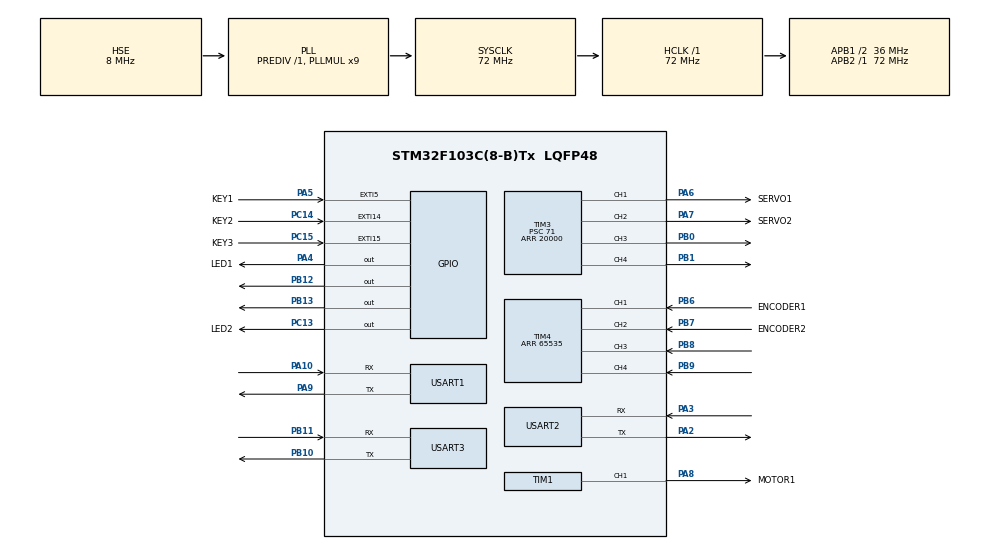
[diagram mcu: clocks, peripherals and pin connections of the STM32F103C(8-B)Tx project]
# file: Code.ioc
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Dma.Request0=USART1_RX
Dma.Request1=USART2_RX
Dma.USART1_RX.0.Direction=DMA_PERIPH_TO_MEMORY
Dma.USART1_RX.0.Instance=DMA1_Channel5
Dma.USART1_RX.0.MemDataAlignment=DMA_MDATAALIGN_BYTE
Dma.USART1_RX.0.MemInc=DMA_MINC_ENABLE
Dma.USART1_RX.0.Mode=DMA_CIRCULAR
Dma.USART1_RX.0.PeriphDataAlignment=DMA_PDATAALIGN_BYTE
Dma.USART1_RX.0.PeriphInc=DMA_PINC_DISABLE
Dma.USART1_RX.0.Priority=DMA_PRIORITY_LOW
Dma.USART2_RX.1.Direction=DMA_PERIPH_TO_MEMORY
Dma.USART2_RX.1.Instance=DMA1_Channel6
Dma.USART2_RX.1.MemDataAlignment=DMA_MDATAALIGN_BYTE
Dma.USART2_RX.1.MemInc=DMA_MINC_ENABLE
Dma.USART2_RX.1.Mode=DMA_CIRCULAR
Dma.USART2_RX.1.PeriphDataAlignment=DMA_PDATAALIGN_BYTE
Dma.USART2_RX.1.PeriphInc=DMA_PINC_DISABLE
Dma.USART2_RX.1.Priority=DMA_PRIORITY_MEDIUM
Mcu.Family=STM32F1
Mcu.Name=STM32F103C(8-B)Tx
Mcu.Package=LQFP48
NVIC.DMA1_Channel5_IRQn=true\:0\:0\:false\:false\:true\:false
NVIC.DMA1_Channel6_IRQn=true\:0\:0\:false\:false\:true\:false
NVIC.EXTI15_10_IRQn=true\:5\:0\:true\:false\:true\:true
NVIC.EXTI9_5_IRQn=true\:5\:0\:true\:false\:true\:true
NVIC.PriorityGroup=NVIC_PRIORITYGROUP_4
NVIC.TIM1_BRK_IRQn=true\:0\:0\:false\:false\:true\:true
NVIC.TIM1_UP_IRQn=true\:0\:0\:false\:false\:true\:true
NVIC.USART1_IRQn=true\:0\:0\:false\:false\:true\:true
NVIC.USART2_IRQn=true\:0\:0\:false\:false\:true\:true
NVIC.USART3_IRQn=true\:0\:0\:false\:false\:true\:true
PA10.Mode=Asynchronous
PA10.Signal=USART1_RX
PA13.Mode=Serial_Wire
PA13.Signal=SYS_JTMS-SWDIO
PA14.Mode=Serial_Wire
PA14.Signal=SYS_JTCK-SWCLK
PA2.Mode=Asynchronous
PA2.Signal=USART2_TX
PA3.Mode=Asynchronous
PA3.Signal=USART2_RX
PA4.GPIO_Label=LED1
PA4.PinState=GPIO_PIN_SET
PA4.Signal=GPIO_Output
PA5.GPIO_Label=KEY1
PA5.Signal=GPXTI5
PA6.GPIO_Label=SERVO1
PA6.GPIO_Speed=GPIO_SPEED_FREQ_HIGH
PA6.Signal=S_TIM3_CH1
PA7.GPIO_Label=SERVO2
PA7.GPIO_Speed=GPIO_SPEED_FREQ_HIGH
PA7.Signal=S_TIM3_CH2
PA8.GPIO_Label=MOTOR1
PA8.Signal=S_TIM1_CH1
PA9.Mode=Asynchronous
PA9.Signal=USART1_TX
PB0.Signal=S_TIM3_CH3
PB1.Signal=S_TIM3_CH4
PB10.Mode=Asynchronous
PB10.Signal=USART3_TX
PB11.Mode=Asynchronous
PB11.Signal=USART3_RX
PB12.Signal=GPIO_Output
PB13.Signal=GPIO_Output
PB6.GPIO_Label=ENCODER1
PB6.Signal=S_TIM4_CH1
PB7.GPIO_Label=ENCODER2
PB7.Signal=S_TIM4_CH2
PB8.Signal=S_TIM4_CH3
PB9.Signal=S_TIM4_CH4
PC13-TAMPER-RTC.GPIO_Label=LED2
PC13-TAMPER-RTC.Signal=GPIO_Output
PC14-OSC32_IN.GPIO_Label=KEY2
PC14-OSC32_IN.Signal=GPXTI14
PC15-OSC32_OUT.GPIO_Label=KEY3
PC15-OSC32_OUT.Signal=GPXTI15
PD0-OSC_IN.Mode=HSE-External-Oscillator
PD0-OSC_IN.Signal=RCC_OSC_IN
PD1-OSC_OUT.Mode=HSE-External-Oscillator
PD1-OSC_OUT.Signal=RCC_OSC_OUT
ProjectManager.HeapSize=0x200
ProjectManager.StackSize=0x400
ProjectManager.TargetToolchain=MDK-ARM V5
RCC.AHBFreq_Value=72000000
RCC.APB1CLKDivider=RCC_HCLK_DIV2
RCC.APB1Freq_Value=36000000
RCC.APB1TimFreq_Value=72000000
RCC.APB2Freq_Value=72000000
RCC.APB2TimFreq_Value=72000000
RCC.HCLKFreq_Value=72000000
RCC.PLLMUL=RCC_PLL_MUL9
RCC.PLLSourceVirtual=RCC_PLLSOURCE_HSE
RCC.SYSCLKFreq_VALUE=72000000
RCC.SYSCLKSource=RCC_SYSCLKSOURCE_PLLCLK
RCC.USBFreq_Value=72000000
SH.S_TIM1_CH1.0=TIM1_CH1,PWM Generation1 CH1
SH.S_TIM3_CH1.0=TIM3_CH1,PWM Generation1 CH1
SH.S_TIM3_CH2.0=TIM3_CH2,PWM Generation2 CH2
SH.S_TIM3_CH3.0=TIM3_CH3,PWM Generation3 CH3
SH.S_TIM3_CH4.0=TIM3_CH4,PWM Generation4 CH4
SH.S_TIM4_CH1.0=TIM4_CH1,Encoder_Interface
SH.S_TIM4_CH2.0=TIM4_CH2,Encoder_Interface
SH.S_TIM4_CH3.0=TIM4_CH3,Input_Capture3_from_TI3
SH.S_TIM4_CH4.0=TIM4_CH4,Input_Capture4_from_TI4
TIM1.Channel-PWM\ Generation1\ CH1=TIM_CHANNEL_1
TIM1.Period=1000
TIM1.Prescaler=71
TIM3.Channel-PWM\ Generation1\ CH1=TIM_CHANNEL_1
TIM3.Channel-PWM\ Generation2\ CH2=TIM_CHANNEL_2
TIM3.Channel-PWM\ Generation3\ CH3=TIM_CHANNEL_3
TIM3.Channel-PWM\ Generation4\ CH4=TIM_CHANNEL_4
TIM3.OCMode_PWM-PWM\ Generation1\ CH1=TIM_OCMODE_PWM1
TIM3.Period=20000
TIM3.Prescaler=71
TIM3.Pulse-PWM\ Generation1\ CH1=1500
TIM3.Pulse-PWM\ Generation2\ CH2=1500
TIM3.Pulse-PWM\ Generation3\ CH3=1500
TIM3.Pulse-PWM\ Generation4\ CH4=1500
TIM4.Channel-Input_Capture3_from_TI3=TIM_CHANNEL_3
TIM4.Channel-Input_Capture4_from_TI4=TIM_CHANNEL_4
TIM4.EncoderMode=TIM_ENCODERMODE_TI12
TIM4.Period=65535
USART1.VirtualMode=VM_ASYNC
USART2.VirtualMode=VM_ASYNC
USART3.VirtualMode=VM_ASYNC
VP_TIM1_VS_ClockSourceINT.Mode=Internal
VP_TIM3_VS_ClockSourceINT.Mode=Internal
board=custom

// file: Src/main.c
/**
  ******************************************************************************
  * @file           : main.c
  * @brief          : Main program body
  ******************************************************************************
  ** This notice applies to any and all portions of this file
  * that are not between comment pairs USER CODE BEGIN and
  * USER CODE END. Other portions of this file, whether
  * inserted by the user or by software development tools
  * are owned by their respective copyright owners.
  *
  * COPYRIGHT(c) 2019 STMicroelectronics
  *
  * Redistribution and use in source and binary forms, with or without modification,
  * are permitted provided that the following conditions are met:
  *   1. Redistributions of source code must retain the above copyright notice,
  *      this list of conditions and the following disclaimer.
  *   2. Redistributions in binary form must reproduce the above copyright notice,
  *      this list of conditions and the following disclaimer in the documentation
  *      and/or other materials provided with the distribution.
  *   3. Neither the name of STMicroelectronics nor the names of its contributors
  *      may be used to endorse or promote products derived from this software
  *      without specific prior written permission.
  *
  * THIS SOFTWARE IS PROVIDED BY THE COPYRIGHT HOLDERS AND CONTRIBUTORS "AS IS"
  * AND ANY EXPRESS OR IMPLIED WARRANTIES, INCLUDING, BUT NOT LIMITED TO, THE
  * IMPLIED WARRANTIES OF MERCHANTABILITY AND FITNESS FOR A PARTICULAR PURPOSE ARE
  * DISCLAIMED. IN NO EVENT SHALL THE COPYRIGHT HOLDER OR CONTRIBUTORS BE LIABLE
  * FOR ANY DIRECT, INDIRECT, INCIDENTAL, SPECIAL, EXEMPLARY, OR CONSEQUENTIAL
  * DAMAGES (INCLUDING, BUT NOT LIMITED TO, PROCUREMENT OF SUBSTITUTE GOODS OR
  * SERVICES; LOSS OF USE, DATA, OR PROFITS; OR BUSINESS INTERRUPTION) HOWEVER
  * CAUSED AND ON ANY THEORY OF LIABILITY, WHETHER IN CONTRACT, STRICT LIABILITY,
  * OR TORT (INCLUDING NEGLIGENCE OR OTHERWISE) ARISING IN ANY WAY OUT OF THE USE
  * OF THIS SOFTWARE, EVEN IF ADVISED OF THE POSSIBILITY OF SUCH DAMAGE.
  *
  ******************************************************************************
  */
#include "main.h"
#include "stm32f1xx_hal.h"
#include "dma.h"
#include "tim.h"
#include "usart.h"
#include "gpio.h"

/* USER CODE BEGIN Includes */
#include "string.h"
#include "led.h"
#include "key.h"
#include "motor.h"
#include "encoder.h"
#include "interrupt.h"
#include "servoctrl.h"
#include "usart_hmi.h"

#include "stdio.h"
#ifdef __GNUC__
#define PUTCHAR_PROTOTYPE int __io_putchar(int ch)
#else
#define PUTCHAR_PROTOTYPE int fputc(int ch, FILE *f)
#endif /* __GNUC__ */
PUTCHAR_PROTOTYPE
{
	HAL_UART_Transmit(&huart1 , (uint8_t *)&ch, 1, 0xFFFF);
	return ch;
}

/* USER CODE END Includes */

/* USER CODE BEGIN PV */
/* Private variables ---------------------------------------------------------*/
uint8_t Usart_hmi_Trasmt[20]={0};
uint8_t Usart_hmi_Recv[20]={0};
uint8_t Usart_opmv_itRecv[NUM]={0};
uint8_t Usart_opmv_dmaRecv[NUM]={0};
uint8_t Usart_opmv_Temp1[NUM]={0};
uint8_t Usart_opmv_Temp2[NUM]={0};
uint8_t rx_len=0;					//DMA不定长接收数据
uint8_t recv_end_flag=0;

uint32_t tick,tick1,tick2,tick3;
__IO u8 usart_hmicplt_flag;
__IO u8 usart_opmvcplt_flag;
__IO u8 key_flag=0;
__IO u8 usart_hmicplt_flag=0;
__IO u8 usart_hmi_action=0;
__IO int Encoder_value=0;

extern ServoCtrl_t ServoCtrlS1;
extern ServoCtrl_t ServoCtrlS2;
extern CoordinateSet_t CoordinateSet;

	 u8 openmv[NUM];	//存取数据
	 u8 state00 = 0;
	 u8 bit_number=0;

/* USER CODE END PV */

void SystemClock_Config(void);

/* USER CODE BEGIN PFP */
/* Private function prototypes -----------------------------------------------*/

/* USER CODE END PFP */

int main(void)
{
  /* USER CODE BEGIN 1 */
	tick3 = tick2 = tick1 = tick = HAL_GetTick();		//====获得精准的系统可用延时手柄
//	 if((HAL_GetTick() - tick >= 1 )){tick = HAL_GetTick();}		//===1毫秒循环延时
//	 if((HAL_GetTick() - tick1 >= 5 )){tick1 = HAL_GetTick();}	//===5毫秒循环延时
//	 if((HAL_GetTick() - tick2 >= 10 )){tick2 = HAL_GetTick();}	//===10毫秒循环延时
//	 if((HAL_GetTick() - tick3 >= 30 )){tick3 = HAL_GetTick();}	//===30毫秒循环延时
  /* USER CODE END 1 */

  /* MCU Configuration----------------------------------------------------------*/

  /* Reset of all peripherals, Initializes the Flash interface and the Systick. */
  HAL_Init();

  /* Configure the system clock */
  SystemClock_Config();

  /* Initialize all configured peripherals */
  MX_GPIO_Init();
  MX_DMA_Init();
  MX_USART1_UART_Init();
  MX_TIM1_Init();
  MX_TIM3_Init();
  MX_TIM4_Init();
  MX_USART3_UART_Init();
  MX_USART2_UART_Init();
  /* USER CODE BEGIN 2 */
	Motor_Init();
	Encoder_Init();
	ServoCtrlInit();
	HMISendstart();			//注意防止被接收中断打断！
	Interrupt_Init();		//内含接收中断；

  /* USER CODE END 2 */

  /* Infinite loop */
  /* USER CODE BEGIN WHILE */
  while (1)
  {
		HMISendstart();
//		LED1_TOGGLE;
//		HAL_Delay(500);
//		HMI_task();
//		LED1_TOGGLE;
//		HAL_Delay(500);
//		AIN1=1;
//		AIN2=0;
//		HMIRead();								//====检查串口屏是否有任务按键按下,从而分别启动8个任务，启动完毕之后
//		if(usart_hmi_action==1)
//		{
//			usart_hmi_action=0;
//			ServoCoordinateRun();
//			__HAL_TIM_SET_COMPARE(&SxTime,S1_OUT,Angle2Pulse(AngleRun(&ServoCtrlS1),1));
//			__HAL_TIM_SET_COMPARE(&SxTime,S2_OUT,Angle2Pulse(AngleRun(&ServoCtrlS2),0));
//			HMIClose(1);
//		}
  /* USER CODE END WHILE */

  }

}

void SystemClock_Config(void)
{

  RCC_OscInitTypeDef RCC_OscInitStruct;
  RCC_ClkInitTypeDef RCC_ClkInitStruct;

    /**Initializes the CPU, AHB and APB busses clocks
    */
  RCC_OscInitStruct.OscillatorType = RCC_OSCILLATORTYPE_HSE;
  RCC_OscInitStruct.HSEState = RCC_HSE_ON;
  RCC_OscInitStruct.HSEPredivValue = RCC_HSE_PREDIV_DIV1;
  RCC_OscInitStruct.HSIState = RCC_HSI_ON;
  RCC_OscInitStruct.PLL.PLLState = RCC_PLL_ON;
  RCC_OscInitStruct.PLL.PLLSource = RCC_PLLSOURCE_HSE;
  RCC_OscInitStruct.PLL.PLLMUL = RCC_PLL_MUL9;
  if (HAL_RCC_OscConfig(&RCC_OscInitStruct) != HAL_OK)
  {
    _Error_Handler(__FILE__, __LINE__);
  }

    /**Initializes the CPU, AHB and APB busses clocks
    */
  RCC_ClkInitStruct.ClockType = RCC_CLOCKTYPE_HCLK|RCC_CLOCKTYPE_SYSCLK
                              |RCC_CLOCKTYPE_PCLK1|RCC_CLOCKTYPE_PCLK2;
  RCC_ClkInitStruct.SYSCLKSource = RCC_SYSCLKSOURCE_PLLCLK;
  RCC_ClkInitStruct.AHBCLKDivider = RCC_SYSCLK_DIV1;
  RCC_ClkInitStruct.APB1CLKDivider = RCC_HCLK_DIV2;
  RCC_ClkInitStruct.APB2CLKDivider = RCC_HCLK_DIV1;

  if (HAL_RCC_ClockConfig(&RCC_ClkInitStruct, FLASH_LATENCY_2) != HAL_OK)
  {
    _Error_Handler(__FILE__, __LINE__);
  }

    /**Configure the Systick interrupt time
    */
  HAL_SYSTICK_Config(HAL_RCC_GetHCLKFreq()/1000);

    /**Configure the Systick
    */
  HAL_SYSTICK_CLKSourceConfig(SYSTICK_CLKSOURCE_HCLK);

  /* SysTick_IRQn interrupt configuration */
  HAL_NVIC_SetPriority(SysTick_IRQn, 0, 0);
}

void _Error_Handler(char *file, int line)
{
  while(1)
  {
  }
}

/************************ (C) COPYRIGHT STMicroelectronics *****END OF FILE****/
